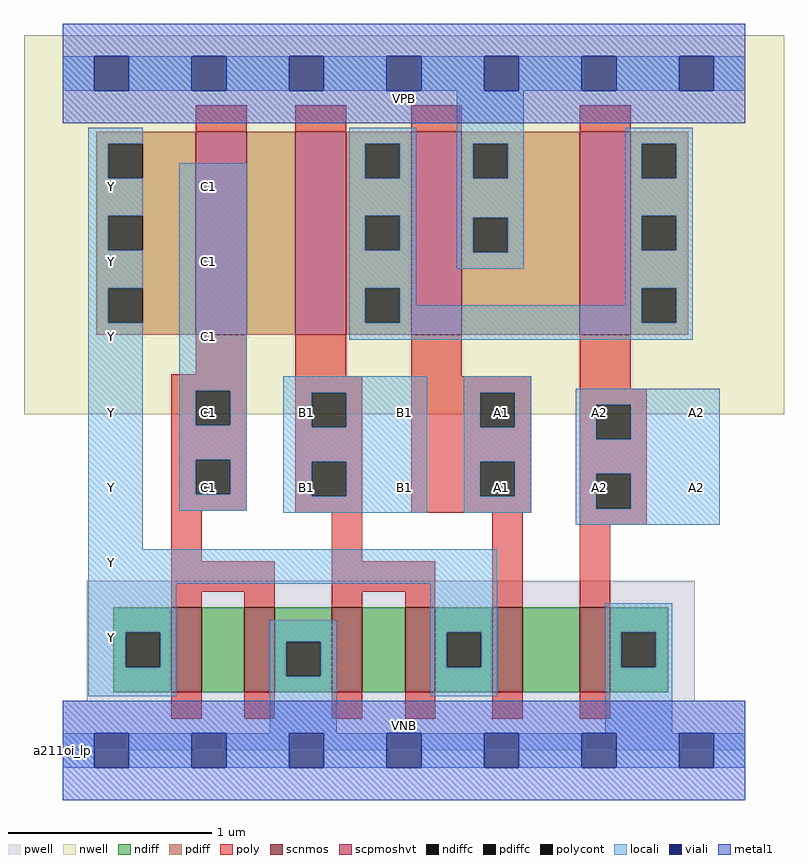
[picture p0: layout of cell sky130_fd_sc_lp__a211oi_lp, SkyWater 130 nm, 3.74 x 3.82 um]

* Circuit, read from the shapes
.subckt sky130_fd_sc_lp__a211oi_lp A1 A2 B1 C1 VGND VNB VPB VPWR Y
XM1 n1 C1 Y VNB sky130_fd_pr__nfet_01v8 w=0.42 l=0.15
XM2 VGND C1 n1 VNB sky130_fd_pr__nfet_01v8 w=0.42 l=0.15
XM3 n2 B1 VGND VNB sky130_fd_pr__nfet_01v8 w=0.42 l=0.15
XM4 Y B1 n2 VNB sky130_fd_pr__nfet_01v8 w=0.42 l=0.15
XM5 n3 A1 Y VNB sky130_fd_pr__nfet_01v8 w=0.42 l=0.15
XM6 VGND A2 n3 VNB sky130_fd_pr__nfet_01v8 w=0.42 l=0.15
XM7 n4 C1 Y VPB sky130_fd_pr__pfet_01v8_hvt w=1 l=0.25
XM8 n5 B1 n4 VPB sky130_fd_pr__pfet_01v8_hvt w=1 l=0.25
XM9 VPWR A1 n5 VPB sky130_fd_pr__pfet_01v8_hvt w=1 l=0.25
XM10 n5 A2 VPWR VPB sky130_fd_pr__pfet_01v8_hvt w=1 l=0.25
.ends

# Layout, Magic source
magic
tech sky130A
magscale 1 2
<< nwell >>
rect -38 331 710 704
<< pwell >>
rect 24 49 622 167
rect 0 0 672 49
<< scnmos >>
rect 107 57 137 141
rect 179 57 209 141
rect 265 57 295 141
rect 337 57 367 141
rect 423 57 453 141
rect 509 57 539 141
<< scpmoshvt >>
rect 131 409 181 609
rect 229 409 279 609
rect 343 409 393 609
rect 509 409 559 609
<< ndiff >>
rect 50 116 107 141
rect 50 82 62 116
rect 96 82 107 116
rect 50 57 107 82
rect 137 57 179 141
rect 209 107 265 141
rect 209 73 220 107
rect 254 73 265 107
rect 209 57 265 73
rect 295 57 337 141
rect 367 116 423 141
rect 367 82 378 116
rect 412 82 423 116
rect 367 57 423 82
rect 453 57 509 141
rect 539 116 596 141
rect 539 82 550 116
rect 584 82 596 116
rect 539 57 596 82
<< pdiff >>
rect 33 597 131 609
rect 33 563 45 597
rect 79 563 131 597
rect 33 526 131 563
rect 33 492 45 526
rect 79 492 131 526
rect 33 455 131 492
rect 33 421 45 455
rect 79 421 131 455
rect 33 409 131 421
rect 181 409 229 609
rect 279 597 343 609
rect 279 563 298 597
rect 332 563 343 597
rect 279 526 343 563
rect 279 492 298 526
rect 332 492 343 526
rect 279 455 343 492
rect 279 421 298 455
rect 332 421 343 455
rect 279 409 343 421
rect 393 597 509 609
rect 393 563 404 597
rect 438 563 509 597
rect 393 524 509 563
rect 393 490 404 524
rect 438 490 509 524
rect 393 409 509 490
rect 559 597 616 609
rect 559 563 570 597
rect 604 563 616 597
rect 559 526 616 563
rect 559 492 570 526
rect 604 492 616 526
rect 559 455 616 492
rect 559 421 570 455
rect 604 421 616 455
rect 559 409 616 421
<< ndiffc >>
rect 62 82 96 116
rect 220 73 254 107
rect 378 82 412 116
rect 550 82 584 116
<< pdiffc >>
rect 45 563 79 597
rect 45 492 79 526
rect 45 421 79 455
rect 298 563 332 597
rect 298 492 332 526
rect 298 421 332 455
rect 404 563 438 597
rect 404 490 438 524
rect 570 563 604 597
rect 570 492 604 526
rect 570 421 604 455
<< poly >>
rect 131 609 181 635
rect 229 609 279 635
rect 343 609 393 635
rect 509 609 559 635
rect 131 370 181 409
rect 107 354 181 370
rect 107 320 131 354
rect 165 320 181 354
rect 107 286 181 320
rect 107 252 131 286
rect 165 252 181 286
rect 107 236 181 252
rect 229 368 279 409
rect 343 368 393 409
rect 229 352 295 368
rect 229 318 245 352
rect 279 318 295 352
rect 229 284 295 318
rect 229 250 245 284
rect 279 250 295 284
rect 107 186 137 236
rect 229 234 295 250
rect 343 352 461 368
rect 343 318 411 352
rect 445 318 461 352
rect 343 284 461 318
rect 343 250 411 284
rect 445 250 461 284
rect 343 234 461 250
rect 509 356 559 409
rect 509 340 575 356
rect 509 306 525 340
rect 559 306 575 340
rect 509 272 575 306
rect 509 238 525 272
rect 559 238 575 272
rect 265 186 295 234
rect 107 156 209 186
rect 107 141 137 156
rect 179 141 209 156
rect 265 156 367 186
rect 265 141 295 156
rect 337 141 367 156
rect 423 141 453 234
rect 509 222 575 238
rect 509 141 539 222
rect 107 31 137 57
rect 179 31 209 57
rect 265 31 295 57
rect 337 31 367 57
rect 423 31 453 57
rect 509 31 539 57
<< polycont >>
rect 131 320 165 354
rect 131 252 165 286
rect 245 318 279 352
rect 245 250 279 284
rect 411 318 445 352
rect 411 250 445 284
rect 525 306 559 340
rect 525 238 559 272
<< locali >>
rect 0 649 31 683
rect 65 649 127 683
rect 161 649 223 683
rect 257 649 319 683
rect 353 649 415 683
rect 449 649 511 683
rect 545 649 607 683
rect 641 649 672 683
rect 25 597 79 613
rect 25 563 45 597
rect 282 597 348 613
rect 25 526 79 563
rect 25 492 45 526
rect 25 455 79 492
rect 25 421 45 455
rect 25 198 79 421
rect 115 354 181 578
rect 282 563 298 597
rect 332 563 348 597
rect 282 526 348 563
rect 282 492 298 526
rect 332 492 348 526
rect 282 455 348 492
rect 388 597 454 649
rect 388 563 404 597
rect 438 563 454 597
rect 388 524 454 563
rect 388 490 404 524
rect 438 490 454 524
rect 388 474 454 490
rect 554 597 620 613
rect 554 563 570 597
rect 604 563 620 597
rect 554 526 620 563
rect 554 492 570 526
rect 604 492 620 526
rect 282 421 298 455
rect 332 438 348 455
rect 554 455 620 492
rect 554 438 570 455
rect 332 421 570 438
rect 604 421 620 455
rect 282 404 620 421
rect 115 320 131 354
rect 165 320 181 354
rect 115 286 181 320
rect 115 252 131 286
rect 165 252 181 286
rect 115 236 181 252
rect 217 352 359 368
rect 217 318 245 352
rect 279 318 359 352
rect 217 284 359 318
rect 217 250 245 284
rect 279 250 359 284
rect 217 234 359 250
rect 395 352 461 368
rect 395 318 411 352
rect 445 318 461 352
rect 395 284 461 318
rect 395 250 411 284
rect 445 250 461 284
rect 395 234 461 250
rect 505 340 647 356
rect 505 306 525 340
rect 559 306 647 340
rect 505 272 647 306
rect 505 238 525 272
rect 559 238 647 272
rect 505 222 647 238
rect 25 164 428 198
rect 25 116 112 164
rect 25 82 62 116
rect 96 82 112 116
rect 25 53 112 82
rect 204 107 270 128
rect 204 73 220 107
rect 254 73 270 107
rect 204 17 270 73
rect 362 116 428 164
rect 362 82 378 116
rect 412 82 428 116
rect 362 53 428 82
rect 534 116 600 145
rect 534 82 550 116
rect 584 82 600 116
rect 534 17 600 82
rect 0 -17 31 17
rect 65 -17 127 17
rect 161 -17 223 17
rect 257 -17 319 17
rect 353 -17 415 17
rect 449 -17 511 17
rect 545 -17 607 17
rect 641 -17 672 17
<< viali >>
rect 31 649 65 683
rect 127 649 161 683
rect 223 649 257 683
rect 319 649 353 683
rect 415 649 449 683
rect 511 649 545 683
rect 607 649 641 683
rect 31 -17 65 17
rect 127 -17 161 17
rect 223 -17 257 17
rect 319 -17 353 17
rect 415 -17 449 17
rect 511 -17 545 17
rect 607 -17 641 17
<< metal1 >>
rect 0 683 672 715
rect 0 649 31 683
rect 65 649 127 683
rect 161 649 223 683
rect 257 649 319 683
rect 353 649 415 683
rect 449 649 511 683
rect 545 649 607 683
rect 641 649 672 683
rect 0 617 672 649
rect 0 17 672 49
rect 0 -17 31 17
rect 65 -17 127 17
rect 161 -17 223 17
rect 257 -17 319 17
rect 353 -17 415 17
rect 449 -17 511 17
rect 545 -17 607 17
rect 641 -17 672 17
rect 0 -49 672 -17
<< labels >>
flabel pwell s 0 0 672 49 0 FreeSans 200 0 0 0 VNB
port 6 nsew ground bidirectional
flabel nwell s 0 617 672 666 0 FreeSans 200 0 0 0 VPB
port 7 nsew power bidirectional
rlabel comment s 0 0 0 0 4 a211oi_lp
flabel metal1 s 0 617 672 666 0 FreeSans 340 0 0 0 VPWR
port 8 nsew power bidirectional
flabel metal1 s 0 0 672 49 0 FreeSans 340 0 0 0 VGND
port 5 nsew ground bidirectional
flabel locali s 127 242 161 276 0 FreeSans 340 0 0 0 C1
port 4 nsew signal input
flabel locali s 127 316 161 350 0 FreeSans 340 0 0 0 C1
port 4 nsew signal input
flabel locali s 127 390 161 424 0 FreeSans 340 0 0 0 C1
port 4 nsew signal input
flabel locali s 127 464 161 498 0 FreeSans 340 0 0 0 C1
port 4 nsew signal input
flabel locali s 127 538 161 572 0 FreeSans 340 0 0 0 C1
port 4 nsew signal input
flabel locali s 223 242 257 276 0 FreeSans 340 0 0 0 B1
port 3 nsew signal input
flabel locali s 223 316 257 350 0 FreeSans 340 0 0 0 B1
port 3 nsew signal input
flabel locali s 319 242 353 276 0 FreeSans 340 0 0 0 B1
port 3 nsew signal input
flabel locali s 319 316 353 350 0 FreeSans 340 0 0 0 B1
port 3 nsew signal input
flabel locali s 415 242 449 276 0 FreeSans 340 0 0 0 A1
port 1 nsew signal input
flabel locali s 415 316 449 350 0 FreeSans 340 0 0 0 A1
port 1 nsew signal input
flabel locali s 31 94 65 128 0 FreeSans 340 0 0 0 Y
port 9 nsew signal output
flabel locali s 31 168 65 202 0 FreeSans 340 0 0 0 Y
port 9 nsew signal output
flabel locali s 31 242 65 276 0 FreeSans 340 0 0 0 Y
port 9 nsew signal output
flabel locali s 31 316 65 350 0 FreeSans 340 0 0 0 Y
port 9 nsew signal output
flabel locali s 31 390 65 424 0 FreeSans 340 0 0 0 Y
port 9 nsew signal output
flabel locali s 31 464 65 498 0 FreeSans 340 0 0 0 Y
port 9 nsew signal output
flabel locali s 31 538 65 572 0 FreeSans 340 0 0 0 Y
port 9 nsew signal output
flabel locali s 511 242 545 276 0 FreeSans 340 0 0 0 A2
port 2 nsew signal input
flabel locali s 511 316 545 350 0 FreeSans 340 0 0 0 A2
port 2 nsew signal input
flabel locali s 607 242 641 276 0 FreeSans 340 0 0 0 A2
port 2 nsew signal input
flabel locali s 607 316 641 350 0 FreeSans 340 0 0 0 A2
port 2 nsew signal input
<< properties >>
string LEFsite unit
string LEFclass CORE
string FIXED_BBOX 0 0 672 666
string GDS_FILE $PDKPATH/libs.ref/sky130_fd_sc_lp/gds/sky130_fd_sc_lp.gds
string LEFsymmetry X Y R90
string GDS_END 207468
string GDS_START 199576
<< end >>
